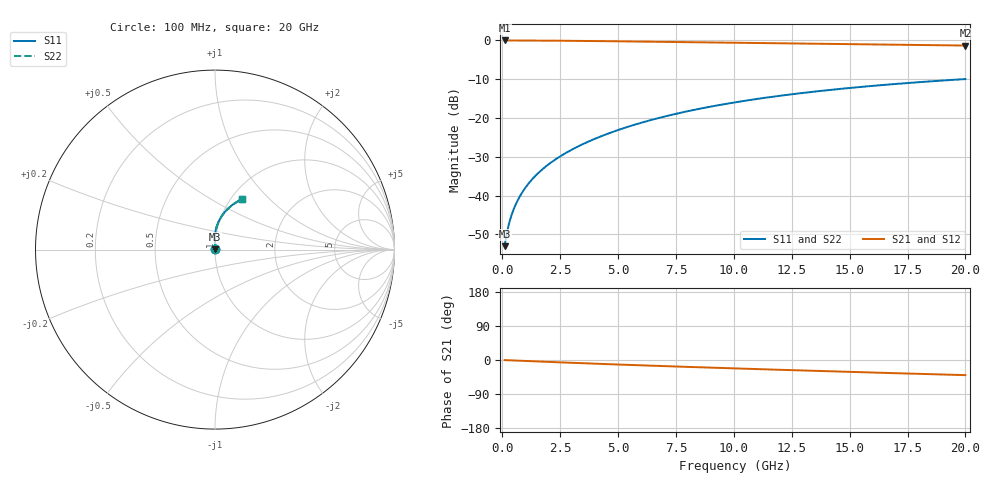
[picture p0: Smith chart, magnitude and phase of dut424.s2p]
! Touchstone file exported from HFSS 2024.1.0
!  File:  C:/UserFiles/LocalFiles/RDL_TSV_Batchsim/temp_RDL_bottom_424_1779683899.aedt
!  Generated:  12:40:51 PM May 25, 2026
!  Design:  RDL_bottom
!  Project:  temp_RDL_bottom_424_1779683899
!  Setup:  Setup1
!  Solution:  Sweep
! Variables:
!  dtsv = 10.80580581um
!  hbump = 3um
!  htsv = 96.78um
!  ldown = 576.06um
!  lrdl = 100um
!  p = 40
!  p1 = 57.72um
!  rhole = 1um
!  t = 450um
!  tdown = 4.67um
!  trdl = 3.915915916um
!  wdown = 29.31um
!  wrdl = 20um
# GHz S MA R 50.000000
! Terminal data exported
! Port[1] = RDL1_T1
! Port[2] = RDL1_T2
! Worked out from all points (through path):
!   200 points, 100 MHz to 20 GHz, reference 50 ohm
!   highest |S21| = -0.02 dB at 100 MHz (marker M1); lowest = -1.3 dB at 20 GHz (marker M2)
!   group delay of S21, straight-line fit = 5.46 ps
!   lowest |S11| = -53.0 dB at 100 MHz (marker M3), VSWR 1.00, Z = 50.2 + j0.143 ohm
!   |S11| at or under -10 dB: start of sweep to 19.9 GHz
!   |S22| runs from -53.0 to -10.0 dB; largest |S21 - S12| = 3.2e-15
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0.1  0.002229 39.8  0.9983 -0.3  0.9983 -0.3  0.00223 39.8
! Gamma 0 0 0 0
! Port Impedance 50 0 50 0
0.2  0.003325 56.4  0.9981 -0.5  0.9981 -0.5  0.003325 56.4
0.3  0.004478 64.1  0.9979 -0.8  0.9979 -0.8  0.004479 64.1
0.4  0.005624 68.8  0.9977 -1.0  0.9977 -1.0  0.005626 68.8
0.5  0.006771 72.1  0.9975 -1.3  0.9975 -1.3  0.006773 72.1
0.6  0.007927 74.7  0.9973 -1.5  0.9973 -1.5  0.007929 74.7
0.8  0.01027 78.5  0.997 -2.0  0.997 -2.0  0.01028 78.5
1.1  0.01389 82.1  0.9962 -2.8  0.9962 -2.8  0.01389 82.1
1.3  0.01635 83.8  0.9956 -3.3  0.9956 -3.3  0.01635 83.8
1.6  0.02012 85.7  0.9946 -4.0  0.9946 -4.0  0.02012 85.6
2.1  0.02662 87.8  0.9925 -5.2  0.9925 -5.2  0.02662 87.8
2.7  0.0348 89.4  0.9894 -6.7  0.9894 -6.7  0.03478 89.3
3.5  0.04636 90.5  0.9844 -8.6  0.9844 -8.6  0.04633 90.4
4.2  0.05708 90.8  0.9795 -10.2  0.9795 -10.2  0.05703 90.7
5  0.06996 90.5  0.9734 -11.9  0.9734 -11.9  0.06989 90.4
6.8  0.1008 88.5  0.959 -15.8  0.959 -15.8  0.1007 88.4
8.4  0.1294 85.8  0.9461 -19.0  0.9461 -19.0  0.1292 85.7
10.1  0.16 82.3  0.9326 -22.3  0.9326 -22.3  0.1597 82.2
11.7  0.1883 78.9  0.9202 -25.3  0.9202 -25.3  0.188 78.8
13.4  0.2174 75.3  0.9072 -28.4  0.9072 -28.4  0.217 75.2
16.7  0.2703 68.4  0.8825 -34.3  0.8825 -34.3  0.2698 68.3
20  0.3176 61.9  0.8584 -39.9  0.8584 -39.9  0.3169 61.8
